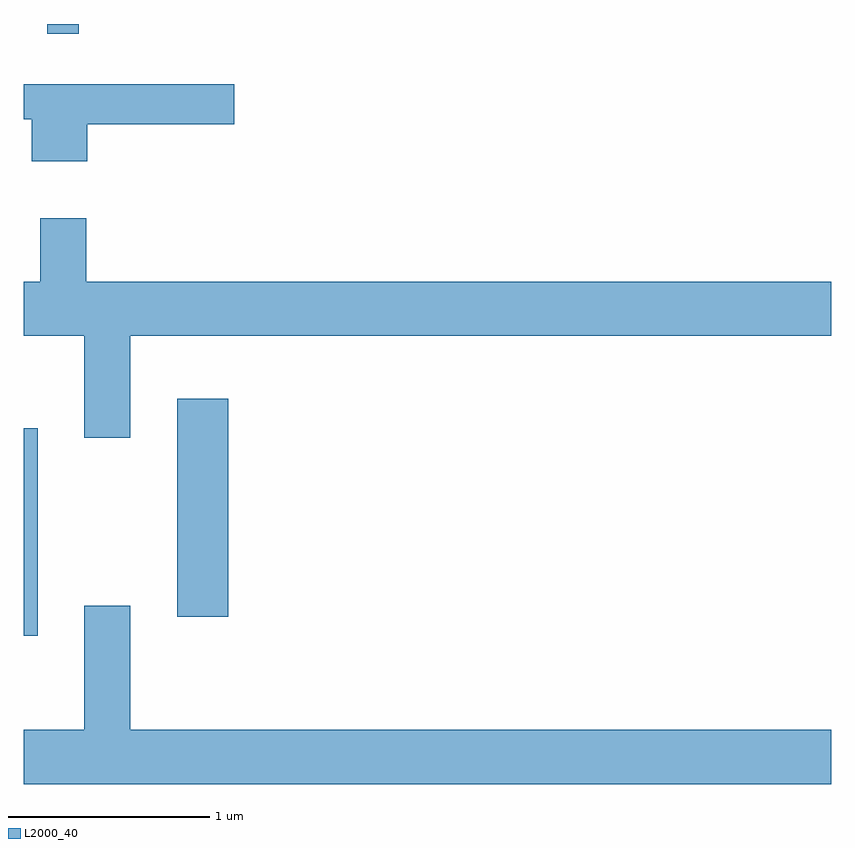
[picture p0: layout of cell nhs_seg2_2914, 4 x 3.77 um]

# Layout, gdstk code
import gdstk
lib = gdstk.Library(unit=1e-6, precision=1e-09)
def R(c, l, rs):  # rectangles x0, y0, x1, y1
    for r in rs: c.add(gdstk.rectangle(r[:2], r[2:], *l))
def P(c, l, *ps):  # polygons
    for p in ps: c.add(gdstk.Polygon(p, *l))
L2000_40 = (2000, 40)

nhs_seg2_2914 = lib.new_cell('nhs_seg2_2914')
R(nhs_seg2_2914, L2000_40, [(269.611,1106.771,269.679,1107.799), (270.371,1106.866,270.624,1107.944), (269.726,1109.753,269.884,1109.802)])
P(nhs_seg2_2914, L2000_40, [(269.924,1109.306),(270.654,1109.306),(270.654,1109.504),(269.611,1109.504),(269.611,1109.331),(269.651,1109.331),(269.651,1109.121),(269.924,1109.121)],
  [(270.139,1108.256),(273.611,1108.256),(273.611,1108.524),(269.919,1108.524),(269.919,1108.839),(269.691,1108.839),(269.691,1108.524),(269.611,1108.524),(269.611,1108.256),(269.911,1108.256),(269.911,1107.751),(270.139,1107.751)],
  [(273.611,1106.304),(270.139,1106.304),(270.139,1106.919),(269.911,1106.919),(269.911,1106.304),(269.611,1106.304),(269.611,1106.036),(273.611,1106.036)])

lib.write_gds('nhs_seg2_2914.gds')
